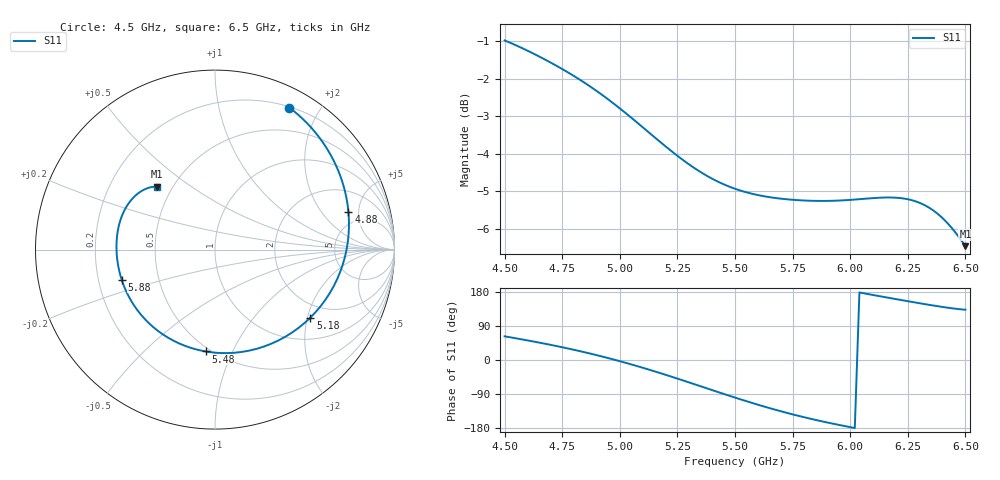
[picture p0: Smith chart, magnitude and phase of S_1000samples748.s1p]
! TOUCHSTONE file generated by CST MICROWAVE STUDIO
! Date and time: Sat Oct 29 06:14:16 2022
! Project name: L.cst
! Parameters = {Di=1.27; Epsilon_r=1.56; InnerDiameter=1.27; Length=2; Lf=10; Lg=60; OuterConductorThickness=0.2921; OuterDiameter=3.6; Wf=3; Wp=41.2; de=1.5; df=6.8; g=0.8; gx=1.86093; gy=0.782775; h=2.34; hf=1.524; px=10.2402; py=9.63105; w=9.7; wx=8.37928; wy=8.84828}
! Header version: 2018
! Port assignment regex: !\s*Touchstone port\s*([0-9]+)\s*=\s*(CST MWS port|CST DS port)\s*([0-9]+|Zmin|Zmax)\s*\(\"(.*)\"\)(\s*mode\s*([0-9]+))?.*
! Touchstone port assignment:
! Touchstone port 1 = CST MWS port 1 ("")
# GHz S DB R 50
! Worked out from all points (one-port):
!   101 points, 4.5 GHz to 6.5 GHz, reference 50 ohm
!   lowest |S11| = -6.5 dB at 6.5 GHz (marker M1), VSWR 2.81, Z = 20.7 + j18.7 ohm
!   |S11| at or under -10 dB: nowhere
!   S11 on the Smith chart (normalised r, x): 4.5 GHz: 0.21, +1.63; 4.88 GHz: 3.69, +3.82; 5.18 GHz: 1.58, -2.09; 5.48 GHz: 0.47, -0.79; 5.88 GHz: 0.30, -0.14; 6.5 GHz: 0.41, +0.37
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4.5  -0.98 62.4
4.62  -1.32 49.4
4.68  -1.51 42.4
4.76  -1.78 32.4
4.82  -2.00 24.3
4.88  -2.24 15.7
4.94  -2.51 6.6
5  -2.79 -3.2
5.08  -3.19 -17.0
5.12  -3.40 -24.2
5.18  -3.71 -35.5
5.26  -4.10 -51.1
5.32  -4.36 -63.1
5.36  -4.52 -71.2
5.42  -4.72 -83.3
5.48  -4.88 -95.2
5.5  -4.93 -99.2
5.56  -5.04 -110.7
5.64  -5.14 -125.2
5.7  -5.19 -135.4
5.76  -5.23 -145.0
5.88  -5.25 -162.2
6  -5.22 -177.2
6.14  -5.16 167.1
6.26  -5.22 154.1
6.38  -5.60 141.9
6.44  -5.96 136.7
6.5  -6.45 132.6
